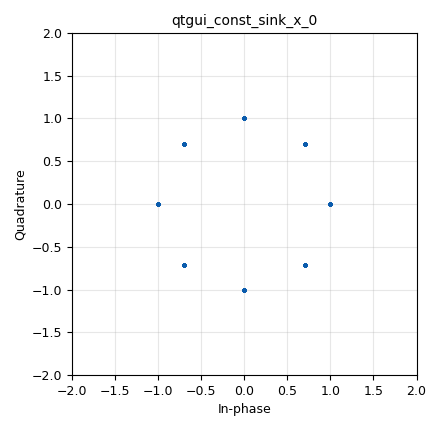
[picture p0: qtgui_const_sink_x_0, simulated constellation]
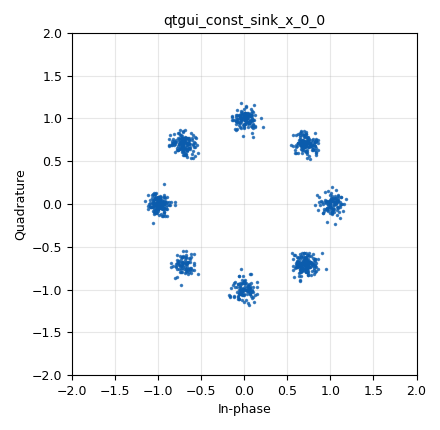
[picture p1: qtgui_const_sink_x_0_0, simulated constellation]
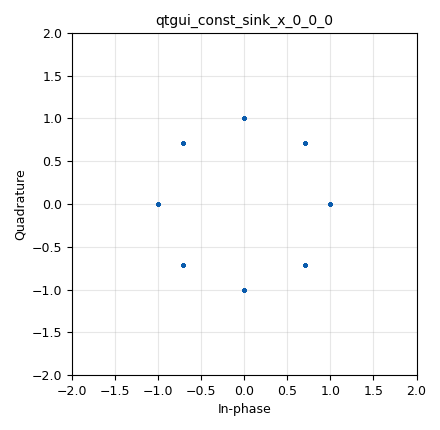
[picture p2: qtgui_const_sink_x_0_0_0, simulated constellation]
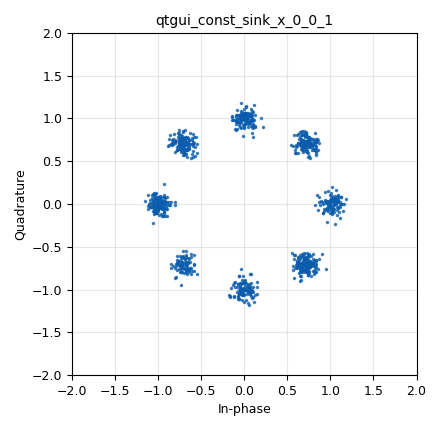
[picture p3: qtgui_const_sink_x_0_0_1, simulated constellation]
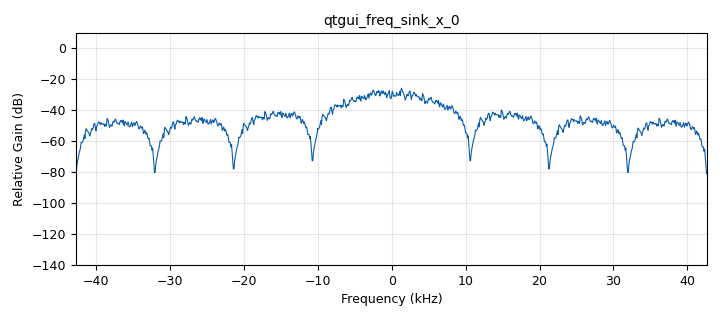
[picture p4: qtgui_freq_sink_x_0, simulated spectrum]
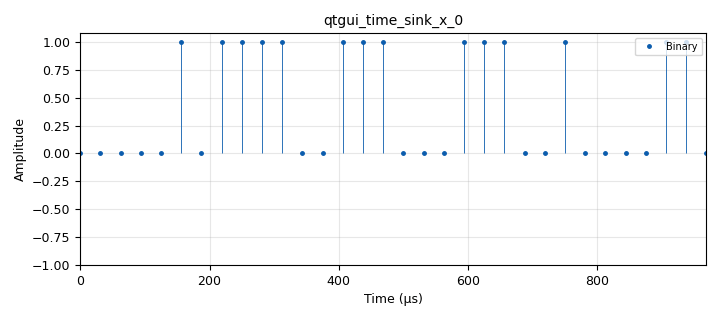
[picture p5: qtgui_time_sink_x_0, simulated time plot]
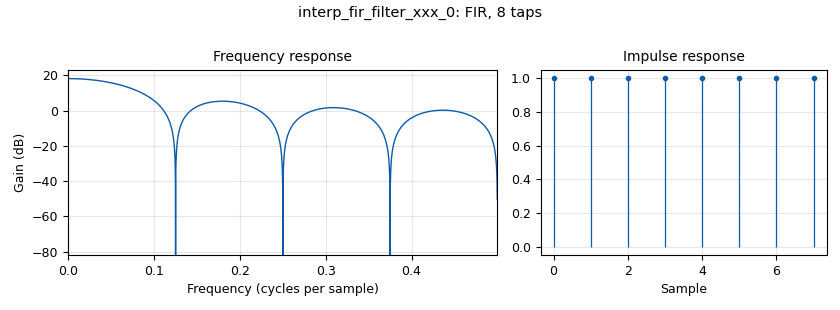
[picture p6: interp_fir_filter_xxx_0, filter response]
options:
  parameters:
    generate_options: qt_gui
    id: punto_5_practica_4
    output_language: python
    title: Not titled yet
  states: {}

blocks:
- name: Hn
  id: variable
  parameters:
    value: (1.,1.,1.,1.,1.,1.,1.,1.)
  states: {}
- name: M
  id: variable
  parameters:
    value: '8'
  states: {}
- name: Rb
  id: variable
  parameters:
    value: '32000'
  states: {}
- name: Rs
  id: variable
  parameters:
    value: Rb/bps
  states: {}
- name: SPS
  id: variable
  parameters:
    value: len(Hn)
  states: {}
- name: bps
  id: variable
  parameters:
    value: int(math.log(M,2))
  states: {}
- name: samp_rate
  id: variable
  parameters:
    value: Rs*SPS
  states: {}
- name: tabla
  id: variable
  parameters:
    value: (1+0j, 0.71+0.71j,0+1j,-0.71+0.71j,-1+0j,-0.71-0.71j, 0-1j, 0.71-0.71j)
  states: {}
- name: analog_const_source_x_0
  id: analog_const_source_x
  parameters:
    const: '1.'
    type: float
  states: {}
- name: analog_noise_source_x_0
  id: analog_noise_source_x
  parameters:
    amp: '0.1'
    noise_type: analog.GR_GAUSSIAN
    seed: '0'
    type: complex
  states: {}
- name: analog_noise_source_x_0_0
  id: analog_noise_source_x
  parameters:
    amp: '0.1'
    noise_type: analog.GR_GAUSSIAN
    seed: '0'
    type: complex
  states: {}
- name: analog_random_source_x_0
  id: analog_random_source_x
  parameters:
    max: '2'
    min: '0'
    num_samps: '1000'
    repeat: 'True'
    type: byte
  states: {}
- name: blocks_add_xx_0
  id: blocks_add_xx
  parameters:
    type: complex
  states: {}
- name: blocks_add_xx_0_0
  id: blocks_add_xx
  parameters:
    type: complex
  states: {}
- name: blocks_char_to_float_0
  id: blocks_char_to_float
  parameters:
    scale: '1'
  states: {}
- name: blocks_char_to_float_0_0_0
  id: blocks_char_to_float
  parameters:
    scale: '1'
  states: {}
- name: blocks_multiply_const_vxx_0
  id: blocks_multiply_const_vxx
  parameters:
    const: 2*math.pi/M
    type: float
  states: {}
- name: blocks_repack_bits_bb_0
  id: blocks_repack_bits_bb
  parameters:
    endianness: gr.GR_LSB_FIRST
    k: '1'
    l: bps
  states: {}
- name: digital_chunks_to_symbols_xx_0
  id: digital_chunks_to_symbols_xx
  parameters:
    dimension: '1'
    in_type: byte
    out_type: complex
    symbol_table: tabla
  states: {}
- name: epy_block_0
  id: epy_block
  parameters:
    _source_code: "\"\"\"\nEmbedded Python Blocks:\n\nEach time this file is saved, GRC will instantiate the first class it finds\nto get ports and parameters of your block. The arguments to __init__  will\nbe the parameters. All of them are required to have default values!\n\"\"\"\n\nimport numpy as np\nfrom gnuradio import gr\nclass blk(gr.sync_block):  # other base classes are basic_block, decim_block, interp_block\n    \"\"\"Embedded Python Block example - a simple multiply const\"\"\"\n\n    def __init__(self, example_param=1.0):  # only default arguments here\n        \"\"\"VCO creado\"\"\"\n        gr.sync_block.__init__(\n            self,\n            name='VCO complex',   # will show up in GRC\n            in_sig=[np.float32, np.float32],\n            out_sig=[np.complex64]\n        )\n        # if an attribute with the same name as a parameter is found,\n        # a callback is registered (properties work, too).\n        self.example_param = example_param\n\n    def work(self, input_items, output_items):\n        Q = input_items[0]\n        A = input_items[1]\n        Sec = output_items[0]\n        Sec[:] = A*np.exp(1j*Q)\n        return len(Sec)\n    "
    example_param: '1.0'
  states: {}
- name: import_0
  id: import
  parameters:
    imports: import math
  states: {}
- name: interp_fir_filter_xxx_0
  id: interp_fir_filter_xxx
  parameters:
    interp: SPS
    taps: Hn
    type: ccc
  states: {}
- name: interp_fir_filter_xxx_0_0
  id: interp_fir_filter_xxx
  parameters:
    interp: SPS
    taps: Hn
    type: ccc
  states: {}
- name: qtgui_const_sink_x_0
  id: qtgui_const_sink_x
  parameters:
    size: '1024'
    type: complex
  states: {}
- name: qtgui_const_sink_x_0_0
  id: qtgui_const_sink_x
  parameters:
    size: '1024'
    type: complex
  states: {}
- name: qtgui_const_sink_x_0_0_0
  id: qtgui_const_sink_x
  parameters:
    size: '1024'
    type: complex
  states: {}
- name: qtgui_const_sink_x_0_0_1
  id: qtgui_const_sink_x
  parameters:
    size: '1024'
    type: complex
  states: {}
- name: qtgui_freq_sink_x_0
  id: qtgui_freq_sink_x
  parameters:
    average: '0.05'
    bw: samp_rate
    fc: '0'
    fftsize: '1024'
    type: complex
  states: {}
- name: qtgui_time_sink_x_0
  id: qtgui_time_sink_x
  parameters:
    label1: Binary
    marker1: '0'
    size: '32'
    srate: Rb
    stemplot: 'True'
    type: float
    width1: '3'
  states: {}
- name: qtgui_time_sink_x_0_0_0
  id: qtgui_time_sink_x
  parameters:
    label1: Mode-MPAM
    marker1: '0'
    size: int(32/bps)
    srate: Rs
    stemplot: 'True'
    type: float
    width1: '3'
  states: {}
- name: qtgui_time_sink_x_1
  id: qtgui_time_sink_x
  parameters:
    label1: ECR
    label2: ECI
    marker1: '0'
    marker2: '0'
    size: int(32/bps)
    srate: Rs
    stemplot: 'True'
    type: complex
    width1: '3'
    width2: '3'
  states: {}
- name: qtgui_time_sink_x_1_0
  id: qtgui_time_sink_x
  parameters:
    label1: ECR
    label2: ECI
    size: int(32*SPS/bps)
    srate: samp_rate
    type: complex
    width1: '3'
    width2: '3'
  states: {}

connections:
- [analog_const_source_x_0, '0', epy_block_0, '1']
- [analog_noise_source_x_0, '0', blocks_add_xx_0, '1']
- [analog_noise_source_x_0_0, '0', blocks_add_xx_0_0, '1']
- [analog_random_source_x_0, '0', blocks_char_to_float_0, '0']
- [analog_random_source_x_0, '0', blocks_repack_bits_bb_0, '0']
- [blocks_add_xx_0, '0', qtgui_const_sink_x_0_0, '0']
- [blocks_add_xx_0_0, '0', qtgui_const_sink_x_0_0_1, '0']
- [blocks_char_to_float_0, '0', qtgui_time_sink_x_0, '0']
- [blocks_char_to_float_0_0_0, '0', blocks_multiply_const_vxx_0, '0']
- [blocks_multiply_const_vxx_0, '0', epy_block_0, '0']
- [blocks_multiply_const_vxx_0, '0', qtgui_time_sink_x_0_0_0, '0']
- [blocks_repack_bits_bb_0, '0', blocks_char_to_float_0_0_0, '0']
- [blocks_repack_bits_bb_0, '0', digital_chunks_to_symbols_xx_0, '0']
- [digital_chunks_to_symbols_xx_0, '0', interp_fir_filter_xxx_0_0, '0']
- [epy_block_0, '0', interp_fir_filter_xxx_0, '0']
- [epy_block_0, '0', qtgui_const_sink_x_0, '0']
- [epy_block_0, '0', qtgui_time_sink_x_1, '0']
- [interp_fir_filter_xxx_0, '0', blocks_add_xx_0, '0']
- [interp_fir_filter_xxx_0, '0', qtgui_freq_sink_x_0, '0']
- [interp_fir_filter_xxx_0, '0', qtgui_time_sink_x_1_0, '0']
- [interp_fir_filter_xxx_0_0, '0', blocks_add_xx_0_0, '0']
- [interp_fir_filter_xxx_0_0, '0', qtgui_const_sink_x_0_0_0, '0']

metadata:
  file_format: 1
  grc_version: 3.10.9.2
